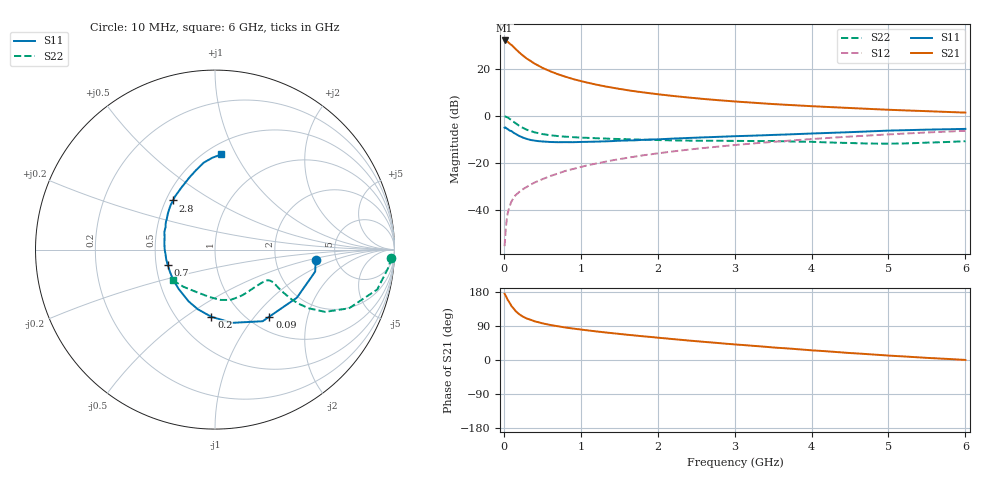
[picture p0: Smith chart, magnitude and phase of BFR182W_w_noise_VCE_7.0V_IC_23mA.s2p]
! Infineon Technologies  Discrete & RF Semiconductors
! BFR182W
! VCE =  7.0 V,  IC =  23 mA
! Common Emitter S-Parameters:  Jan 2017
# GHz  S  MA  R  50
!  f  S11  S21  S12  S22
! GHz  MAG  ANG  MAG  ANG  MAG  ANG  MAG  ANG
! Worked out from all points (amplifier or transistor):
!   77 points, 10 MHz to 6 GHz, reference 50 ohm
!   highest |S21| = 32.1 dB at 10 MHz (marker M1)
!   |S21| within 3 dB of that: start of sweep to 132.9 MHz
!   unconditionally stable (mu >= 1): 818.3 MHz to 2.302 GHz
!   at 130 MHz: K = 0.44, MSG = 32.0 dB, |S12| = -34.7 dB
!   at 2.2 GHz: K = 1.01, MAG = 11.3 dB, |S12| = -15.1 dB
!   at 6 GHz: K = 0.86, MSG = 3.9 dB, |S12| = -6.3 dB
!   lowest NFmin = 1.50 dB at 450 MHz
!   S11 on the Smith chart (normalised r, x): 10 MHz: 3.48, -0.60; 90 MHz: 1.23, -1.19; 200 MHz: 0.73, -0.64; 700 MHz: 0.58, -0.11; 2.8 GHz: 0.54, +0.34; 6 GHz: 0.59, +0.87
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0.01  0.5645 -6.0  40.39 174.8  0.0017 86.3  0.9838 -2.6
0.02  0.5713 -12.4  40.35 171.0  0.003 99.8  0.9728 -5.7
0.05  0.5293 -30.4  37.78 158.8  0.0085 80.3  0.9309 -13.8
0.09  0.4808 -50.9  33.18 145.8  0.0139 72.7  0.836 -21.5
0.1  0.4793 -56.4  32.35 142.0  0.0153 71.7  0.815 -23.7
0.15  0.419 -76.8  26.87 129.7  0.0205 67.5  0.7043 -29.5
0.2  0.3752 -93.0  22.47 120.8  0.0241 65.8  0.6186 -32.0
0.25  0.3457 -106.1  19.16 114.1  0.0278 64.3  0.5559 -32.9
0.3  0.3241 -116.8  16.53 109.3  0.0312 65.4  0.5078 -33.0
0.4  0.2988 -132.5  12.96 102.0  0.0383 67.5  0.4484 -32.1
0.5  0.287 -144.6  10.59 96.8  0.0451 68.5  0.4127 -31.1
0.6  0.2798 -154.3  8.971 92.6  0.0525 69.3  0.3895 -30.1
0.7  0.2768 -162.2  7.752 89.1  0.0595 70.5  0.374 -29.5
0.9  0.2768 -174.4  6.101 83.0  0.0745 71.4  0.3542 -29.4
1.1  0.2822 175.9  5.057 77.9  0.0901 71.6  0.3415 -30.1
1.5  0.2978 161.3  3.77 68.9  0.1204 70.4  0.3233 -33.9
2.1  0.324 145.1  2.781 57.1  0.1682 67.3  0.3046 -43.7
2.8  0.3605 130.5  2.159 44.5  0.224 62.4  0.2966 -58.6
3.1  0.3753 124.8  1.985 39.7  0.2488 60.1  0.2942 -64.9
4.1  0.4289 108.9  1.586 24.3  0.3311 51.5  0.278 -85.9
5.1  0.4929 96.2  1.336 10.5  0.4132 42.0  0.2587 -116.5
6  0.531 86.3  1.179 0.2  0.4837 32.9  0.291 -144.1
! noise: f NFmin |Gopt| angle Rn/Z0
0.45  1.5  0.14  -170  0.15
0.9  1.58  0.16  -165  0.16
1.9  2.1  0.31  -139  0.17
2.4  2.38  0.32  -127  0.27
